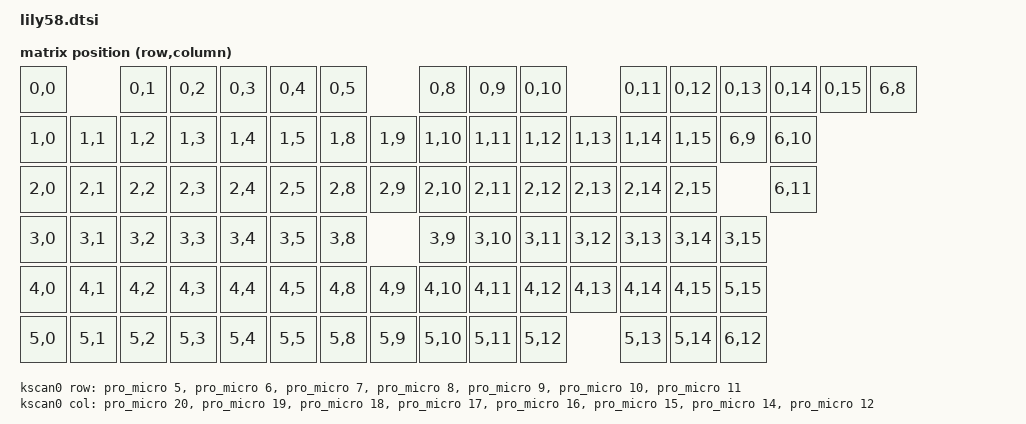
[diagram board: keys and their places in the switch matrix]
#include <dt-bindings/zmk/matrix_transform.h>

/ {
    chosen {
        zmk,kscan = &kscan0;
        zmk,matrix_transform = &default_transform;
    };

    default_transform: keymap_transform_0 {
        compatible = "zmk,matrix-transform";
        columns = <16>;
        rows = <7>;
        // Jisplit89: 89キー分割キーボード
        // 左側: Col 0-7, 右側: Col 8-15
        map = <
// Row 0 (左:6キー, 右:9キー = 15キー): ESC, F1-F5 | F6-F12, Insert, Delete
RC(0,0)         RC(0,1) RC(0,2) RC(0,3) RC(0,4)         RC(0,5)                                         RC(0,8) RC(0,9) RC(0,10)        RC(0,11) RC(0,12) RC(0,13) RC(0,14)        RC(0,15) RC(6,8)
// Row 1 (左:6キー, 右:10キー = 16キー): Grave, 1-5 | 6-0, -, =, YEN, Backspace, Home
RC(1,0) RC(1,1) RC(1,2) RC(1,3) RC(1,4) RC(1,5)                                         RC(1,8) RC(1,9) RC(1,10) RC(1,11) RC(1,12) RC(1,13) RC(1,14) RC(1,15) RC(6,9) RC(6,10)
// Row 2 (左:6キー, 右:9キー = 15キー): Tab, Q-T | Y-P, [, ], \, PgUp
RC(2,0) RC(2,1) RC(2,2) RC(2,3) RC(2,4) RC(2,5)                                         RC(2,8) RC(2,9) RC(2,10) RC(2,11) RC(2,12) RC(2,13) RC(2,14) RC(2,15)          RC(6,11)
// Row 3 (左:6キー, 右:8キー = 14キー): Ctrl, A-G | H-L, ;, ', Enter, PgDn
RC(3,0) RC(3,1) RC(3,2) RC(3,3) RC(3,4) RC(3,5)                                         RC(3,8) RC(3,9) RC(3,10) RC(3,11) RC(3,12) RC(3,13) RC(3,14)           RC(3,15)
// Row 4 (左:6キー, 右:9キー = 15キー): Shift, Z-B | N-/, RO, RShift, Up, End
RC(4,0) RC(4,1) RC(4,2) RC(4,3) RC(4,4) RC(4,5)                                         RC(4,8) RC(4,9) RC(4,10) RC(4,11) RC(4,12) RC(4,13) RC(4,14) RC(4,15) RC(5,15)
// Row 5 (左:6キー, 右:8キー = 14キー): Adjust, Win, Alt, HENKAN, Space, Space | MUHENKAN, KANA, RAlt, RCtrl, RWin, Left, Down, Right
RC(5,0) RC(5,1) RC(5,2) RC(5,3) RC(5,4) RC(5,5)                                         RC(5,8) RC(5,9) RC(5,10) RC(5,11) RC(5,12)          RC(5,13) RC(5,14) RC(6,12)
        >;
    };

    kscan0: kscan {
        compatible = "zmk,kscan-gpio-matrix";
        diode-direction = "col2row";
        wakeup-source;

        row-gpios
            = <&pro_micro 5 (GPIO_ACTIVE_HIGH | GPIO_PULL_DOWN)>
            , <&pro_micro 6 (GPIO_ACTIVE_HIGH | GPIO_PULL_DOWN)>
            , <&pro_micro 7 (GPIO_ACTIVE_HIGH | GPIO_PULL_DOWN)>
            , <&pro_micro 8 (GPIO_ACTIVE_HIGH | GPIO_PULL_DOWN)>
            , <&pro_micro 9 (GPIO_ACTIVE_HIGH | GPIO_PULL_DOWN)>
            , <&pro_micro 10 (GPIO_ACTIVE_HIGH | GPIO_PULL_DOWN)>
            , <&pro_micro 11 (GPIO_ACTIVE_HIGH | GPIO_PULL_DOWN)>
            ;

        col-gpios
            = <&pro_micro 20 GPIO_ACTIVE_HIGH>
            , <&pro_micro 19 GPIO_ACTIVE_HIGH>
            , <&pro_micro 18 GPIO_ACTIVE_HIGH>
            , <&pro_micro 17 GPIO_ACTIVE_HIGH>
            , <&pro_micro 16 GPIO_ACTIVE_HIGH>
            , <&pro_micro 15 GPIO_ACTIVE_HIGH>
            , <&pro_micro 14 GPIO_ACTIVE_HIGH>
            , <&pro_micro 12 GPIO_ACTIVE_HIGH>
            ;
    };
};
